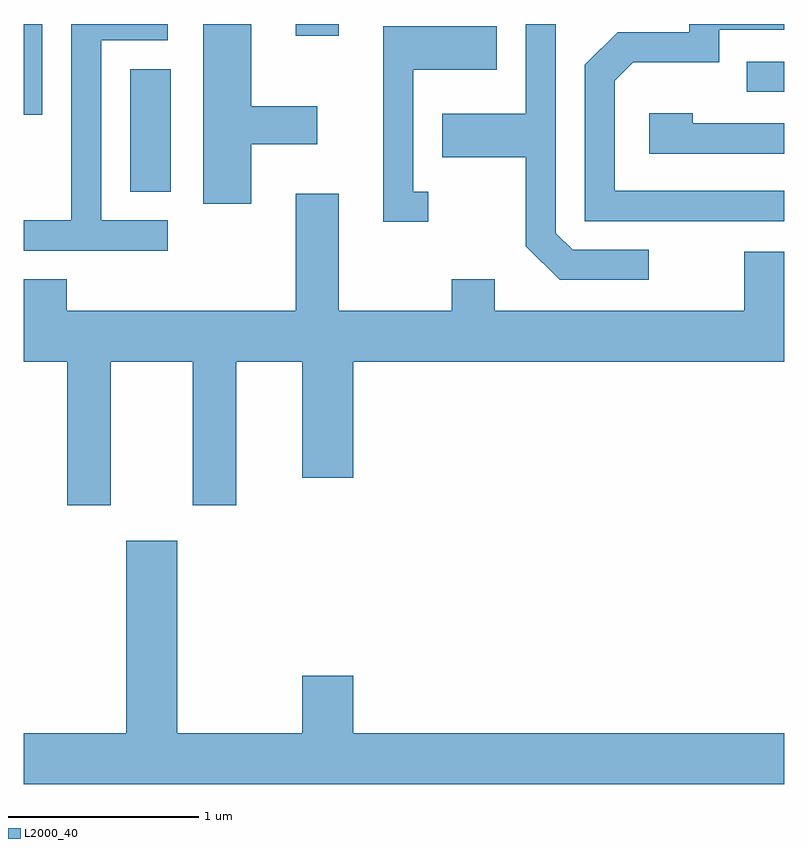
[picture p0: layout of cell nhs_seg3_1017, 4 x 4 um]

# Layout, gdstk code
import gdstk
lib = gdstk.Library(unit=1e-6, precision=1e-09)
def R(c, l, rs):  # rectangles x0, y0, x1, y1
    for r in rs: c.add(gdstk.rectangle(r[:2], r[2:], *l))
def P(c, l, *ps):  # polygons
    for p in ps: c.add(gdstk.Polygon(p, *l))
L2000_40 = (2000, 40)

nhs_seg3_1017 = lib.new_cell('nhs_seg3_1017')
R(nhs_seg3_1017, L2000_40, [(214.171,1249.011,214.384,1249.654), (213.611,1249.416,213.709,1249.892), (217.413,1249.536,217.611,1249.694), (215.041,1249.831,215.269,1249.892)])
P(nhs_seg3_1017, L2000_40, [(216.898,1248.704),(216.497,1248.704),(216.409,1248.792),(216.409,1249.892),(216.251,1249.892),(216.251,1249.419),(215.811,1249.419),(215.811,1249.191),(216.251,1249.191),(216.251,1248.724),(216.429,1248.546),(216.898,1248.546)],
  [(214.809,1249.261),(215.154,1249.261),(215.154,1249.459),(214.809,1249.459),(214.809,1249.892),(214.556,1249.892),(214.556,1248.946),(214.809,1248.946)],
  [(217.611,1249.014),(216.719,1249.014),(216.719,1249.594),(216.817,1249.691),(217.269,1249.691),(217.269,1249.861),(217.611,1249.861),(217.611,1249.892),(217.111,1249.892),(217.111,1249.849),(216.734,1249.849),(216.561,1249.677),(216.561,1248.856),(217.611,1248.856)],
  [(214.368,1248.859),(214.019,1248.859),(214.019,1249.806),(214.368,1249.806),(214.368,1249.892),(213.861,1249.892),(213.861,1248.859),(213.611,1248.859),(213.611,1248.701),(214.368,1248.701)],
  [(215.738,1249.009),(215.659,1249.009),(215.659,1249.651),(216.099,1249.651),(216.099,1249.879),(215.501,1249.879),(215.501,1248.851),(215.738,1248.851)],
  [(217.611,1249.369),(217.129,1249.369),(217.129,1249.424),(216.901,1249.424),(216.901,1249.211),(217.611,1249.211)],
  [(214.069,1248.116),(214.501,1248.116),(214.501,1247.361),(214.729,1247.361),(214.729,1248.116),(215.076,1248.116),(215.076,1247.506),(215.344,1247.506),(215.344,1248.116),(217.611,1248.116),(217.611,1248.694),(217.401,1248.694),(217.401,1248.384),(216.089,1248.384),(216.089,1248.549),(215.861,1248.549),(215.861,1248.384),(215.269,1248.384),(215.269,1248.999),(215.041,1248.999),(215.041,1248.384),(213.839,1248.384),(213.839,1248.549),(213.611,1248.549),(213.611,1248.116),(213.841,1248.116),(213.841,1247.361),(214.069,1247.361)],
  [(217.611,1246.164),(215.344,1246.164),(215.344,1246.464),(215.076,1246.464),(215.076,1246.164),(214.419,1246.164),(214.419,1247.174),(214.151,1247.174),(214.151,1246.164),(213.611,1246.164),(213.611,1245.896),(217.611,1245.896)])

lib.write_gds('nhs_seg3_1017.gds')
